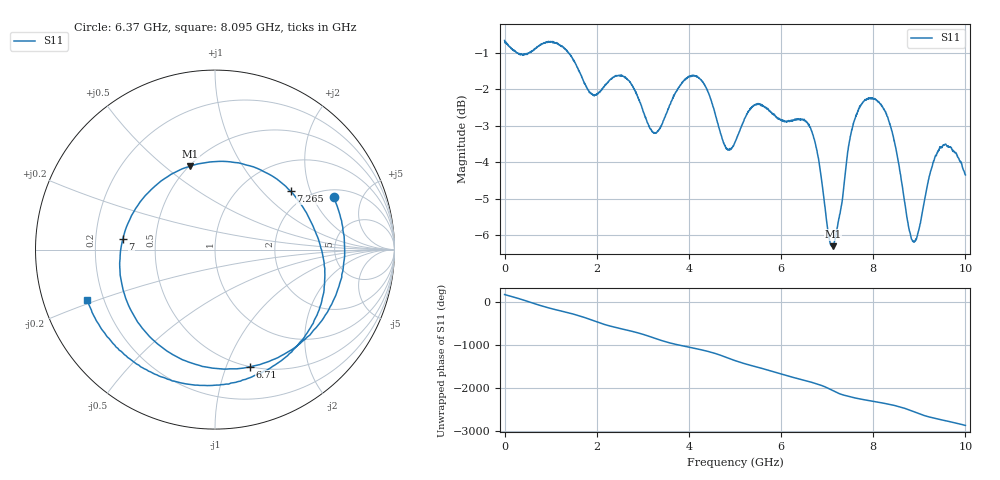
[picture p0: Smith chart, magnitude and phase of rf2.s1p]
!Keysight Technologies,M9375A,MY54321142,A.14.10.03
!Date: Thursday, September 11, 2025 11:49:22
!Correction: S11(C  2-Port  )
!S1P File: Measurement: :
# Hz S  dB  R 50
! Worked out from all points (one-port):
!   2001 points, 1 MHz to 10 GHz, reference 50 ohm
!   lowest |S11| = -6.3 dB at 7.125 GHz (marker M1), VSWR 2.88, Z = 25.3 + j30.7 ohm
!   |S11| at or under -10 dB: nowhere
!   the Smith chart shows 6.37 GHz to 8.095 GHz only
!   S11 on the Smith chart (normalised r, x): 6.37 GHz: 2.37, +2.93; 6.71 GHz: 0.50, -1.22; 7 GHz: 0.32, +0.05; 7.265 GHz: 1.63, +1.48; 8.095 GHz: 0.14, -0.18
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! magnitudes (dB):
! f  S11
! 1 MHz  -0.7
! 376 MHz  -1.0
! 1.251 GHz  -0.8
! 1.911 GHz  -2.1
! 2.501 GHz  -1.6
! 2.761 GHz  -1.9
! 3.251 GHz  -3.2
! 3.751 GHz  -2.0
! 4.221 GHz  -1.7
! 4.441 GHz  -2.1
! 4.796 GHz  -3.6
! 5 GHz  -3.4
! 5.455 GHz  -2.4
! 6.25 GHz  -2.8
! 6.37 GHz  -2.8
! 6.71 GHz  -3.3
! 7 GHz  -5.7
! 7.125 GHz  -6.3
! 7.265 GHz  -5.5
! 7.5 GHz  -3.3
! 7.755 GHz  -2.4
! 8.095 GHz  -2.3
! 8.415 GHz  -3.2
! 8.75 GHz  -5.6
! 8.93 GHz  -6.1
! 9.26 GHz  -4.2
! 9.485 GHz  -3.6
! 10 GHz  -4.3
